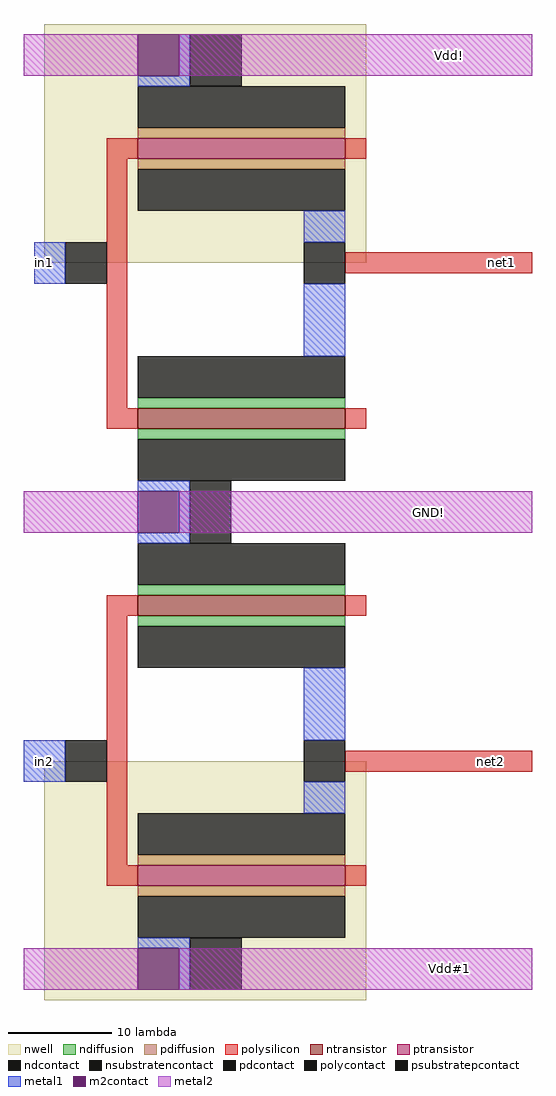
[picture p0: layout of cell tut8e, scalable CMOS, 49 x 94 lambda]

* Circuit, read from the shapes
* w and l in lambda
.subckt tut8e GND! Vdd! Vdd#1 in1 in2 net1 net2
M1 GND! in2 net2 GND! nfet w=20 l=2
M2 net1 in1 GND! GND! nfet w=20 l=2
M3 net2 in2 Vdd#1 Vdd#1 pfet w=20 l=2
M4 Vdd! in1 net1 Vdd! pfet w=20 l=2
.ends

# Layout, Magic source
magic
tech scmos
<< polysilicon >>
rect -95 26 -92 28
rect -72 26 -70 28
rect -95 2 -93 26
rect -72 15 -54 17
rect -95 0 -92 2
rect -72 0 -70 2
rect -95 -18 -92 -16
rect -72 -18 -70 -16
rect -95 -42 -93 -18
rect -72 -33 -54 -31
rect -95 -44 -92 -42
rect -72 -44 -70 -42
<< ndiffusion >>
rect -92 2 -72 3
rect -92 -1 -72 0
rect -92 -16 -72 -15
rect -92 -19 -72 -18
<< pdiffusion >>
rect -92 28 -72 29
rect -92 25 -72 26
rect -92 -42 -72 -41
rect -92 -45 -72 -44
<< metal1 >>
rect -88 34 -87 38
rect -92 33 -87 34
rect -76 18 -72 21
rect -102 14 -99 18
rect -76 7 -72 14
rect -92 -6 -87 -5
rect -88 -10 -87 -6
rect -92 -11 -87 -10
rect -76 -30 -72 -23
rect -103 -34 -99 -30
rect -76 -37 -72 -34
rect -92 -50 -87 -49
rect -88 -54 -87 -50
<< metal2 >>
rect -103 34 -92 38
rect -88 34 -54 38
rect -103 -10 -92 -6
rect -88 -10 -54 -6
rect -103 -54 -92 -50
rect -88 -54 -54 -50
<< nwell >>
rect -101 16 -70 39
rect -101 -55 -70 -32
<< polycontact >>
rect -99 14 -95 18
rect -76 14 -72 18
rect -99 -34 -95 -30
rect -76 -34 -72 -30
<< ndcontact >>
rect -92 3 -72 7
rect -92 -5 -72 -1
rect -92 -15 -72 -11
rect -92 -23 -72 -19
<< pdcontact >>
rect -92 29 -72 33
rect -92 21 -72 25
rect -92 -41 -72 -37
rect -92 -49 -72 -45
<< m2contact >>
rect -92 34 -88 38
rect -92 -10 -88 -6
rect -92 -54 -88 -50
<< ntransistor >>
rect -92 0 -72 2
rect -92 -18 -72 -16
<< ptransistor >>
rect -92 26 -72 28
rect -92 -44 -72 -42
<< psubstratepcontact >>
rect -87 -11 -83 -5
<< nsubstratencontact >>
rect -87 33 -82 38
rect -87 -54 -82 -49
<< labels >>
rlabel metal1 -101 -32 -101 -32 3 in2
rlabel metal1 -101 16 -101 16 3 in1
rlabel polysilicon -57 16 -57 16 1 net1
rlabel polysilicon -58 -32 -58 -32 1 net2
rlabel metal2 -64 -8 -64 -8 5 GND!
rlabel metal2 -62 36 -62 36 5 Vdd!
rlabel metal2 -64 -8 -64 -8 1 GND!
rlabel metal2 -62 -52 -62 -52 1 Vdd#1
<< end >>
